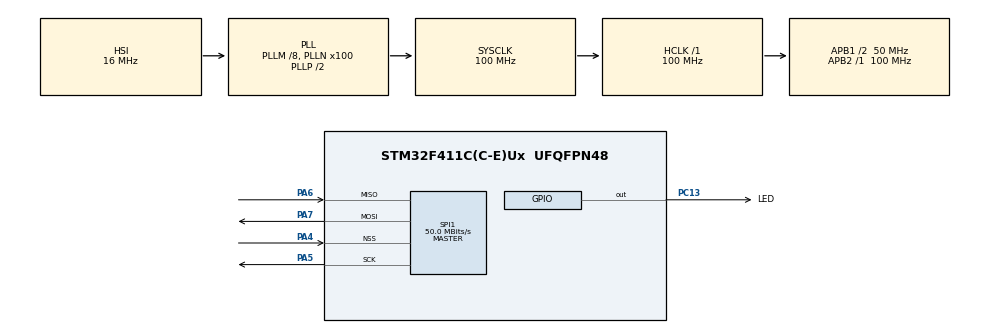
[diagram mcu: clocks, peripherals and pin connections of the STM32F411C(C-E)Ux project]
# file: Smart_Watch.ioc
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FREERTOS.Tasks01=defaultTask,24,128,StartDefaultTask,Default,NULL,Dynamic,NULL,NULL
Mcu.Family=STM32F4
Mcu.Name=STM32F411C(C-E)Ux
Mcu.Package=UFQFPN48
NVIC.PriorityGroup=NVIC_PRIORITYGROUP_4
NVIC.TIM1_UP_TIM10_IRQn=true\:15\:0\:false\:false\:true\:false\:false\:true\:true
NVIC.TimeBase=TIM1_UP_TIM10_IRQn
NVIC.TimeBaseIP=TIM10
PA13.Mode=Serial_Wire
PA13.Signal=SYS_JTMS-SWDIO
PA14.Mode=Serial_Wire
PA14.Signal=SYS_JTCK-SWCLK
PA4.Mode=NSS_Signal_Hard_Input
PA4.Signal=SPI1_NSS
PA5.Mode=Full_Duplex_Master
PA5.Signal=SPI1_SCK
PA6.Mode=Full_Duplex_Master
PA6.Signal=SPI1_MISO
PA7.Mode=Full_Duplex_Master
PA7.Signal=SPI1_MOSI
PC13-ANTI_TAMP.GPIO_Label=LED
PC13-ANTI_TAMP.Signal=GPIO_Output
PC14-OSC32_IN.Mode=LSE-External-Oscillator
PC14-OSC32_IN.Signal=RCC_OSC32_IN
PC15-OSC32_OUT.Mode=LSE-External-Oscillator
PC15-OSC32_OUT.Signal=RCC_OSC32_OUT
PH0\ -\ OSC_IN.Mode=HSE-External-Oscillator
PH0\ -\ OSC_IN.Signal=RCC_OSC_IN
PH1\ -\ OSC_OUT.Mode=HSE-External-Oscillator
PH1\ -\ OSC_OUT.Signal=RCC_OSC_OUT
ProjectManager.HeapSize=0x200
ProjectManager.StackSize=0x400
ProjectManager.TargetToolchain=CMake
RCC.48MHZClocksFreq_Value=50000000
RCC.AHBFreq_Value=100000000
RCC.APB1CLKDivider=RCC_HCLK_DIV2
RCC.APB1Freq_Value=50000000
RCC.APB1TimFreq_Value=100000000
RCC.APB2Freq_Value=100000000
RCC.APB2TimFreq_Value=100000000
RCC.CortexFreq_Value=100000000
RCC.HCLKFreq_Value=100000000
RCC.HSE_VALUE=25000000
RCC.HSI_VALUE=16000000
RCC.PLLM=8
RCC.PLLN=100
RCC.SYSCLKFreq_VALUE=100000000
RCC.SYSCLKSource=RCC_SYSCLKSOURCE_PLLCLK
RCC.VCOOutputFreq_Value=200000000
SPI1.CalculateBaudRate=50.0 MBits/s
SPI1.Direction=SPI_DIRECTION_2LINES
SPI1.Mode=SPI_MODE_MASTER
SPI1.VirtualNSS=VM_NSSHARD
SPI1.VirtualType=VM_MASTER
VP_FREERTOS_VS_CMSIS_V2.Mode=CMSIS_V2
VP_IWDG_VS_IWDG.Mode=IWDG_Activate
VP_SYS_VS_tim10.Mode=TIM10
board=custom

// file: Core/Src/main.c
/* USER CODE BEGIN Header */
/**
  ******************************************************************************
  * @file           : main.c
  * @brief          : Main program body
  ******************************************************************************
  * @attention
  *
  * Copyright (c) 2026 STMicroelectronics.
  * All rights reserved.
  *
  * This software is licensed under terms that can be found in the LICENSE file
  * in the root directory of this software component.
  * If no LICENSE file comes with this software, it is provided AS-IS.
  *
  ******************************************************************************
  */
/* USER CODE END Header */
#include "main.h"
#include "cmsis_os.h"
#include "iwdg.h"
#include "spi.h"
#include "gpio.h"

/* USER CODE BEGIN Includes */
#include <cm_backtrace.h>
#include "Debug.h"
#include "SEGGER_RTT.h"
#include "SEGGER_SYSVIEW.h"
#include "User_Periph_Setup.h"
/* USER CODE END Includes */

/* USER CODE BEGIN PTD */
#define HARDWARE_VERSION "V1.0.0"
#define SOFTWARE_VERSION "V0.1.0"
/* USER CODE END PTD */

void SystemClock_Config(void);
void MX_FREERTOS_Init(void);

int main(void)
{

  /* MCU Configuration--------------------------------------------------------*/

  /* Reset of all peripherals, Initializes the Flash interface and the Systick. */
  HAL_Init();

  /* USER CODE BEGIN Init */
  __enable_irq();
  /* USER CODE END Init */

  /* Configure the system clock */
  SystemClock_Config();

  /* Initialize all configured peripherals */
  MX_GPIO_Init();
  MX_IWDG_Init();
  MX_SPI1_Init();
  /* USER CODE BEGIN 2 */
  SEGGER_RTT_Init();
  SEGGER_SYSVIEW_Conf();
  cm_backtrace_init("CmBacktrace", HARDWARE_VERSION, SOFTWARE_VERSION);
  debug_elog_init();
  log_i("Main: System initialized");
  app_periph_init();
  /* USER CODE END 2 */

  /* Init scheduler */
  osKernelInitialize();  /* Call init function for freertos objects (in cmsis_os2.c) */
  log_i("Main: Kernel initialized");
  MX_FREERTOS_Init();
  log_i("Main: FREERTOS initialized");

  /* Start scheduler */
  osKernelStart();

  /* We should never get here as control is now taken by the scheduler */

  /* Infinite loop */
  while (1)
  {

  }
}

void SystemClock_Config(void)
{
  RCC_OscInitTypeDef RCC_OscInitStruct = {0};
  RCC_ClkInitTypeDef RCC_ClkInitStruct = {0};

  /** Configure the main internal regulator output voltage
  */
  __HAL_RCC_PWR_CLK_ENABLE();
  __HAL_PWR_VOLTAGESCALING_CONFIG(PWR_REGULATOR_VOLTAGE_SCALE1);

  /** Initializes the RCC Oscillators according to the specified parameters
  * in the RCC_OscInitTypeDef structure.
  */
  RCC_OscInitStruct.OscillatorType = RCC_OSCILLATORTYPE_HSI|RCC_OSCILLATORTYPE_LSI;
  RCC_OscInitStruct.HSIState = RCC_HSI_ON;
  RCC_OscInitStruct.HSICalibrationValue = RCC_HSICALIBRATION_DEFAULT;
  RCC_OscInitStruct.LSIState = RCC_LSI_ON;
  RCC_OscInitStruct.PLL.PLLState = RCC_PLL_ON;
  RCC_OscInitStruct.PLL.PLLSource = RCC_PLLSOURCE_HSI;
  RCC_OscInitStruct.PLL.PLLM = 8;
  RCC_OscInitStruct.PLL.PLLN = 100;
  RCC_OscInitStruct.PLL.PLLP = RCC_PLLP_DIV2;
  RCC_OscInitStruct.PLL.PLLQ = 4;
  if (HAL_RCC_OscConfig(&RCC_OscInitStruct) != HAL_OK)
  {
    Error_Handler();
  }

  /** Initializes the CPU, AHB and APB buses clocks
  */
  RCC_ClkInitStruct.ClockType = RCC_CLOCKTYPE_HCLK|RCC_CLOCKTYPE_SYSCLK
                              |RCC_CLOCKTYPE_PCLK1|RCC_CLOCKTYPE_PCLK2;
  RCC_ClkInitStruct.SYSCLKSource = RCC_SYSCLKSOURCE_PLLCLK;
  RCC_ClkInitStruct.AHBCLKDivider = RCC_SYSCLK_DIV1;
  RCC_ClkInitStruct.APB1CLKDivider = RCC_HCLK_DIV2;
  RCC_ClkInitStruct.APB2CLKDivider = RCC_HCLK_DIV1;

  if (HAL_RCC_ClockConfig(&RCC_ClkInitStruct, FLASH_LATENCY_3) != HAL_OK)
  {
    Error_Handler();
  }
}

void HAL_TIM_PeriodElapsedCallback(TIM_HandleTypeDef *htim)
{
  if (htim->Instance == TIM10)
  {
    HAL_IncTick();
  }
}

void Error_Handler(void)
{
  __disable_irq();
  while (1)
  {
  }
}

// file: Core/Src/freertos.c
/* USER CODE BEGIN Header */
/**
  ******************************************************************************
  * File Name          : freertos.c
  * Description        : Code for freertos applications
  ******************************************************************************
  * @attention
  *
  * Copyright (c) 2026 STMicroelectronics.
  * All rights reserved.
  *
  * This software is licensed under terms that can be found in the LICENSE file
  * in the root directory of this software component.
  * If no LICENSE file comes with this software, it is provided AS-IS.
  *
  ******************************************************************************
  */
/* USER CODE END Header */

#include "FreeRTOS.h"
#include "task.h"
#include "main.h"
#include "cmsis_os.h"

/* USER CODE BEGIN Includes */
#include "User_Init.h"
/* USER CODE END Includes */

void StartDefaultTask(void *argument);

void MX_FREERTOS_Init(void); /* (MISRA C 2004 rule 8.1) */

void MX_FREERTOS_Init(void) {

  /* Create the thread(s) */
  /* creation of defaultTask */
  UserAppTask_Init();

}
